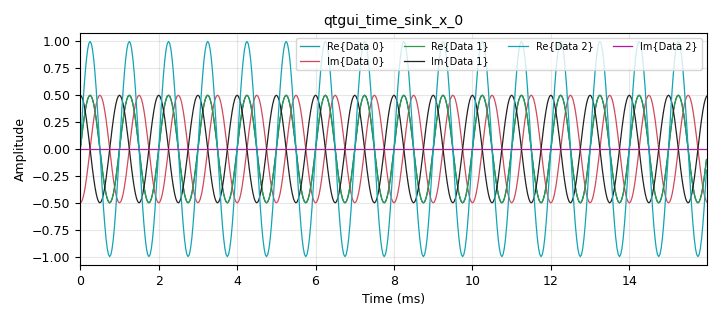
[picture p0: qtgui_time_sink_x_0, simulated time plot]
options:
  parameters:
    author: mdoallo
    description: Una señal real a partir de dos fasores complejos conjugados
    generate_options: qt_gui
    id: fasores
    output_language: python
    title: Fasores (1)
  states: {}

blocks:
- name: frec
  id: variable_qtgui_range
  parameters:
    start: '100'
    step: '100'
    stop: '10000'
    value: '1000'
  states: {}
- name: samp_rate
  id: variable
  parameters:
    value: '32000'
  states: {}
- name: analog_sig_source_x_0
  id: analog_sig_source_x
  parameters:
    amp: '.5'
    comment: Fasor de frecuencia positiva
    freq: frec
    offset: '0'
    phase: '0'
    samp_rate: samp_rate
    type: complex
    waveform: analog.GR_COS_WAVE
  states: {}
- name: analog_sig_source_x_0_0
  id: analog_sig_source_x
  parameters:
    amp: '.5'
    comment: Fasor de frecuencia negativa
    freq: '-frec'
    offset: '0'
    phase: '0'
    samp_rate: samp_rate
    type: complex
    waveform: analog.GR_COS_WAVE
  states: {}
- name: audio_sink_0
  id: audio_sink
  parameters:
    comment: |-
      Precaución: Asegure bajar el volumen del 
      sistema operativo.
    samp_rate: samp_rate
  states: {}
- name: blocks_add_xx_0
  id: blocks_add_xx
  parameters:
    type: complex
  states: {}
- name: blocks_complex_to_imag_0
  id: blocks_complex_to_imag
  parameters: {}
  states: {}
- name: blocks_throttle2_0
  id: blocks_throttle2
  parameters:
    samples_per_second: samp_rate
    type: complex
  states: {}
- name: blocks_throttle2_0_0
  id: blocks_throttle2
  parameters:
    samples_per_second: samp_rate
    type: complex
  states: {}
- name: note_0
  id: note
  parameters:
    comment: |-
      Probar con:
      Complex to Mag
      Complex to Real
      Complex to Imag
  states: {}
- name: qtgui_time_sink_x_0
  id: qtgui_time_sink_x
  parameters:
    comment: Vista en el dominio temporal
    nconnections: '3'
    size: '512'
    srate: samp_rate
    tr_mode: qtgui.TRIG_MODE_AUTO
    type: complex
  states: {}

connections:
- [analog_sig_source_x_0, '0', blocks_throttle2_0, '0']
- [analog_sig_source_x_0_0, '0', blocks_throttle2_0_0, '0']
- [blocks_add_xx_0, '0', qtgui_time_sink_x_0, '2']
- [blocks_complex_to_imag_0, '0', audio_sink_0, '0']
- [blocks_throttle2_0, '0', blocks_add_xx_0, '0']
- [blocks_throttle2_0, '0', qtgui_time_sink_x_0, '0']
- [blocks_throttle2_0_0, '0', blocks_add_xx_0, '1']
- [blocks_throttle2_0_0, '0', blocks_complex_to_imag_0, '0']
- [blocks_throttle2_0_0, '0', qtgui_time_sink_x_0, '1']

metadata:
  file_format: 1
  grc_version: 3.10.12.0
